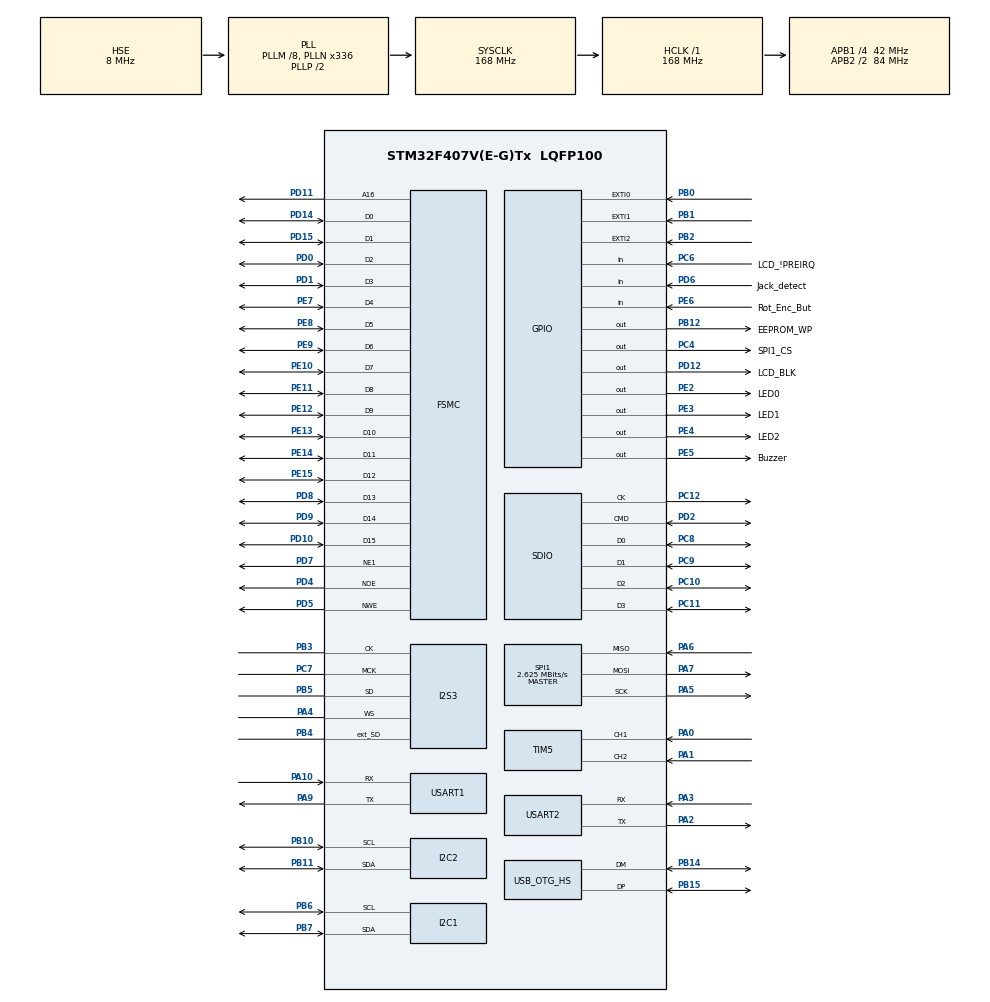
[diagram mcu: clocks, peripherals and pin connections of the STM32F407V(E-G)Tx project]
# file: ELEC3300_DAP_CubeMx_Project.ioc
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Dma.Request0=SPI3_TX
Dma.Request1=SDIO_RX
Dma.Request2=SDIO_TX
Dma.SDIO_RX.1.Direction=DMA_PERIPH_TO_MEMORY
Dma.SDIO_RX.1.FIFOMode=DMA_FIFOMODE_ENABLE
Dma.SDIO_RX.1.FIFOThreshold=DMA_FIFO_THRESHOLD_FULL
Dma.SDIO_RX.1.Instance=DMA2_Stream6
Dma.SDIO_RX.1.MemBurst=DMA_MBURST_INC4
Dma.SDIO_RX.1.MemDataAlignment=DMA_MDATAALIGN_WORD
Dma.SDIO_RX.1.MemInc=DMA_MINC_ENABLE
Dma.SDIO_RX.1.Mode=DMA_PFCTRL
Dma.SDIO_RX.1.PeriphBurst=DMA_PBURST_INC4
Dma.SDIO_RX.1.PeriphDataAlignment=DMA_PDATAALIGN_WORD
Dma.SDIO_RX.1.PeriphInc=DMA_PINC_DISABLE
Dma.SDIO_RX.1.Priority=DMA_PRIORITY_HIGH
Dma.SDIO_TX.2.Direction=DMA_MEMORY_TO_PERIPH
Dma.SDIO_TX.2.FIFOMode=DMA_FIFOMODE_ENABLE
Dma.SDIO_TX.2.FIFOThreshold=DMA_FIFO_THRESHOLD_FULL
Dma.SDIO_TX.2.Instance=DMA2_Stream3
Dma.SDIO_TX.2.MemBurst=DMA_MBURST_INC4
Dma.SDIO_TX.2.MemDataAlignment=DMA_MDATAALIGN_WORD
Dma.SDIO_TX.2.MemInc=DMA_MINC_ENABLE
Dma.SDIO_TX.2.Mode=DMA_PFCTRL
Dma.SDIO_TX.2.PeriphBurst=DMA_PBURST_INC4
Dma.SDIO_TX.2.PeriphDataAlignment=DMA_PDATAALIGN_WORD
Dma.SDIO_TX.2.PeriphInc=DMA_PINC_DISABLE
Dma.SDIO_TX.2.Priority=DMA_PRIORITY_HIGH
Dma.SPI3_TX.0.Direction=DMA_MEMORY_TO_PERIPH
Dma.SPI3_TX.0.FIFOMode=DMA_FIFOMODE_DISABLE
Dma.SPI3_TX.0.Instance=DMA1_Stream5
Dma.SPI3_TX.0.MemDataAlignment=DMA_MDATAALIGN_HALFWORD
Dma.SPI3_TX.0.MemInc=DMA_MINC_ENABLE
Dma.SPI3_TX.0.Mode=DMA_CIRCULAR
Dma.SPI3_TX.0.PeriphDataAlignment=DMA_PDATAALIGN_HALFWORD
Dma.SPI3_TX.0.PeriphInc=DMA_PINC_DISABLE
Dma.SPI3_TX.0.Priority=DMA_PRIORITY_VERY_HIGH
FATFS.USE_DMA_CODE_SD=1
FATFS._CODE_PAGE=850
FATFS._MAX_SS=4096
FATFS._USE_FIND=1
FATFS._USE_LFN=2
I2S3.AudioFreq=I2S_AUDIOFREQ_44K
I2S3.CPOL=I2S_CPOL_LOW
I2S3.ErrorAudioFreq=1.79 %
I2S3.FullDuplexMode=I2S_FULLDUPLEXMODE_ENABLE
I2S3.Instance=SPI$Index
I2S3.RealAudioFreq=44.791 KHz
I2S3.VirtualMode=I2S_MODE_MASTER
Mcu.Family=STM32F4
Mcu.Name=STM32F407V(E-G)Tx
Mcu.Package=LQFP100
NVIC.DMA1_Stream5_IRQn=true\:0\:0\:false\:false\:true\:false\:true
NVIC.DMA2_Stream3_IRQn=true\:0\:0\:false\:false\:true\:false\:true
NVIC.DMA2_Stream6_IRQn=true\:0\:0\:false\:false\:true\:false\:true
NVIC.EXTI0_IRQn=true\:0\:0\:false\:false\:true\:true\:true
NVIC.EXTI1_IRQn=true\:0\:0\:false\:false\:true\:true\:true
NVIC.EXTI2_IRQn=true\:0\:0\:false\:false\:true\:true\:true
NVIC.OTG_HS_IRQn=true\:1\:0\:true\:false\:true\:false\:true
NVIC.PriorityGroup=NVIC_PRIORITYGROUP_4
NVIC.SPI1_IRQn=true\:0\:0\:false\:false\:true\:true\:true
NVIC.TIM6_DAC_IRQn=true\:1\:0\:true\:false\:true\:true\:true
NVIC.USART1_IRQn=true\:1\:0\:true\:false\:true\:true\:true
NVIC.USART2_IRQn=true\:1\:0\:true\:false\:true\:true\:true
PA0-WKUP.Signal=S_TIM5_CH1
PA1.Signal=S_TIM5_CH2
PA10.Mode=Asynchronous
PA10.Signal=USART1_RX
PA13.Mode=Serial_Wire
PA13.Signal=SYS_JTMS-SWDIO
PA14.Mode=Serial_Wire
PA14.Signal=SYS_JTCK-SWCLK
PA2.Mode=Asynchronous
PA2.Signal=USART2_TX
PA3.Mode=Asynchronous
PA3.Signal=USART2_RX
PA4.Mode=Full_Duplex_Master
PA4.Signal=I2S3_WS
PA5.Mode=Full_Duplex_Master
PA5.Signal=SPI1_SCK
PA6.Mode=Full_Duplex_Master
PA6.Signal=SPI1_MISO
PA7.Mode=Full_Duplex_Master
PA7.Signal=SPI1_MOSI
PA9.Mode=Asynchronous
PA9.Signal=USART1_TX
PB0.GPIO_ModeDefaultEXTI=GPIO_MODE_IT_RISING_FALLING
PB0.GPIO_PuPd=GPIO_PULLUP
PB0.Signal=GPXTI0
PB1.GPIO_ModeDefaultEXTI=GPIO_MODE_IT_RISING_FALLING
PB1.GPIO_PuPd=GPIO_PULLUP
PB1.Signal=GPXTI1
PB10.Mode=I2C
PB10.Signal=I2C2_SCL
PB11.Mode=I2C
PB11.Signal=I2C2_SDA
PB12.GPIO_Label=EEPROM_WP
PB12.Signal=GPIO_Output
PB14.Mode=Device_Only_FS
PB14.Signal=USB_OTG_HS_DM
PB15.Mode=Device_Only_FS
PB15.Signal=USB_OTG_HS_DP
PB2.GPIO_ModeDefaultEXTI=GPIO_MODE_IT_RISING_FALLING
PB2.GPIO_PuPd=GPIO_PULLUP
PB2.Signal=GPXTI2
PB3.Mode=Full_Duplex_Master
PB3.Signal=I2S3_CK
PB4.Mode=Full_Duplex_Master
PB4.Signal=I2S3_ext_SD
PB5.Mode=Full_Duplex_Master
PB5.Signal=I2S3_SD
PB6.Mode=I2C
PB6.Signal=I2C1_SCL
PB7.Mode=I2C
PB7.Signal=I2C1_SDA
PC10.Mode=SD_4_bits_Wide_bus
PC10.Signal=SDIO_D2
PC11.Mode=SD_4_bits_Wide_bus
PC11.Signal=SDIO_D3
PC12.Mode=SD_4_bits_Wide_bus
PC12.Signal=SDIO_CK
PC4.GPIO_Label=SPI1_CS
PC4.Signal=GPIO_Output
PC6.GPIO_Label=LCD_\!PREIRQ
PC6.Signal=GPIO_Input
PC7.Mode=Master_Clock_Activated
PC7.Signal=I2S3_MCK
PC8.Mode=SD_4_bits_Wide_bus
PC8.Signal=SDIO_D0
PC9.Mode=SD_4_bits_Wide_bus
PC9.Signal=SDIO_D1
PD0.Mode=16b-d1
PD0.Signal=FSMC_D2
PD1.Mode=16b-d1
PD1.Signal=FSMC_D3
PD10.Mode=16b-d1
PD10.Signal=FSMC_D15
PD11.Mode=A16_1
PD11.Signal=FSMC_A16
PD12.GPIO_Label=LCD_BLK
PD12.Signal=GPIO_Output
PD14.Mode=16b-d1
PD14.Signal=FSMC_D0
PD15.Mode=16b-d1
PD15.Signal=FSMC_D1
PD2.Mode=SD_4_bits_Wide_bus
PD2.Signal=SDIO_CMD
PD4.Mode=Lcd1
PD4.Signal=FSMC_NOE
PD5.Mode=Lcd1
PD5.Signal=FSMC_NWE
PD6.GPIO_Label=Jack_detect
PD6.Signal=GPIO_Input
PD7.Mode=NorPsramChipSelect1_1
PD7.Signal=FSMC_NE1
PD8.Mode=16b-d1
PD8.Signal=FSMC_D13
PD9.Mode=16b-d1
PD9.Signal=FSMC_D14
PE10.Mode=16b-d1
PE10.Signal=FSMC_D7
PE11.Mode=16b-d1
PE11.Signal=FSMC_D8
PE12.Mode=16b-d1
PE12.Signal=FSMC_D9
PE13.Mode=16b-d1
PE13.Signal=FSMC_D10
PE14.Mode=16b-d1
PE14.Signal=FSMC_D11
PE15.Mode=16b-d1
PE15.Signal=FSMC_D12
PE2.GPIO_Label=LED0
PE2.Signal=GPIO_Output
PE3.GPIO_Label=LED1
PE3.Signal=GPIO_Output
PE4.GPIO_Label=LED2
PE4.Signal=GPIO_Output
PE5.GPIO_Label=Buzzer
PE5.Signal=GPIO_Output
PE6.GPIO_Label=Rot_Enc_But
PE6.Signal=GPIO_Input
PE7.Mode=16b-d1
PE7.Signal=FSMC_D4
PE8.Mode=16b-d1
PE8.Signal=FSMC_D5
PE9.Mode=16b-d1
PE9.Signal=FSMC_D6
PH0-OSC_IN.Mode=HSE-External-Oscillator
PH0-OSC_IN.Signal=RCC_OSC_IN
PH1-OSC_OUT.Mode=HSE-External-Oscillator
PH1-OSC_OUT.Signal=RCC_OSC_OUT
ProjectManager.HeapSize=0x7300
ProjectManager.StackSize=0x1700
ProjectManager.TargetToolchain=MDK-ARM V5.32
RCC.48MHZClocksFreq_Value=48000000
RCC.AHBFreq_Value=168000000
RCC.APB1CLKDivider=RCC_HCLK_DIV4
RCC.APB1Freq_Value=42000000
RCC.APB1TimFreq_Value=84000000
RCC.APB2CLKDivider=RCC_HCLK_DIV2
RCC.APB2Freq_Value=84000000
RCC.APB2TimFreq_Value=168000000
RCC.CortexFreq_Value=168000000
RCC.HCLKFreq_Value=168000000
RCC.HSE_VALUE=8000000
RCC.HSI_VALUE=16000000
RCC.LSE_VALUE=32768
RCC.PLLI2SN=344
RCC.PLLM=8
RCC.PLLN=336
RCC.PLLQ=7
RCC.SYSCLKFreq_VALUE=168000000
RCC.SYSCLKSource=RCC_SYSCLKSOURCE_PLLCLK
RCC.VCOOutputFreq_Value=336000000
SDIO.ClockDiv=5
SDIO.HardwareFlowControl=SDIO_HARDWARE_FLOW_CONTROL_ENABLE
SH.S_TIM5_CH1.0=TIM5_CH1,Encoder_Interface
SH.S_TIM5_CH2.0=TIM5_CH2,Encoder_Interface
SPI1.BaudRatePrescaler=SPI_BAUDRATEPRESCALER_32
SPI1.CalculateBaudRate=2.625 MBits/s
SPI1.Direction=SPI_DIRECTION_2LINES
SPI1.Mode=SPI_MODE_MASTER
SPI1.VirtualType=VM_MASTER
TIM6.AutoReloadPreload=TIM_AUTORELOAD_PRELOAD_ENABLE
TIM6.Period=10000-1
TIM6.Prescaler=8400-1
USART1.VirtualMode=VM_ASYNC
USART2.VirtualMode=VM_ASYNC
USB_DEVICE.CLASS_NAME_HS=AUDIO
USB_DEVICE.PID_AUDIO_HS=0x5740
USB_DEVICE.USBD_AUDIO_FREQ-AUDIO_HS=48000
USB_DEVICE.VirtualMode-AUDIO_HS=Audio
USB_DEVICE.VirtualModeHS=Audio_HS
USB_OTG_HS.VirtualMode-Device_Only_FS=Device_Only_FS
VP_FATFS_VS_SDIO.Mode=SDIO
VP_RNG_VS_RNG.Mode=RNG_Activate
VP_TIM6_VS_ClockSourceINT.Mode=Enable_Timer
VP_USB_DEVICE_VS_USB_DEVICE_AUDIO_HS.Mode=AUDIO_HS
board=custom

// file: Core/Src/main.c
/* USER CODE BEGIN Header */
/**
  ******************************************************************************
  * @file           : main.c
  * @brief          : Main program body
  ******************************************************************************
  * @attention
  *
  * <h2><center>&copy; Copyright (c) 2021 STMicroelectronics.
  * All rights reserved.</center></h2>
  *
  * This software component is licensed by ST under Ultimate Liberty license
  * SLA0044, the "License"; You may not use this file except in compliance with
  * the License. You may obtain a copy of the License at:
  *                             www.st.com/SLA0044
  *
  ******************************************************************************
  */
/* USER CODE END Header */
#include "main.h"
#include "fatfs.h"
#include "usb_device.h"

/* USER CODE BEGIN Includes */
#include "file_sys_func.h"
#include "wav_decoder.h"
#include "codec.h"
#include "mp3_decoder.h"
#include "eeprom.h"
#include "lcdtp.h"
#include "menu.h"
#include "volume_bar.h"
#include "uart.h"
#include "usbd_audio_if.h"
#include "player_func.h"
#include "random.h"
/* USER CODE END Includes */

I2C_HandleTypeDef hi2c1;
I2C_HandleTypeDef hi2c2;

I2S_HandleTypeDef hi2s3;
DMA_HandleTypeDef hdma_spi3_tx;

RNG_HandleTypeDef hrng;

SD_HandleTypeDef hsd;
DMA_HandleTypeDef hdma_sdio_rx;
DMA_HandleTypeDef hdma_sdio_tx;

SPI_HandleTypeDef hspi1;

TIM_HandleTypeDef htim5;
TIM_HandleTypeDef htim6;

UART_HandleTypeDef huart1;
UART_HandleTypeDef huart2;

SRAM_HandleTypeDef hsram1;

/* USER CODE BEGIN PV */
volatile uint8_t menu_id = 0;
volatile uint8_t song_id = 0;

// song menu variables
uint8_t numSongs = 0;
char **fileNames; // dynamic 2D char array
uint8_t *fileTypes; // dynamic 1D uint8_t array. 1 = MP3, 2 = WAV, 3 = FLAC

uint8_t volume = 0;

uint8_t bands[5] = {12, 12, 12, 12, 12}; // default
/* USER CODE END PV */

void SystemClock_Config(void);
static void MX_GPIO_Init(void);
static void MX_FSMC_Init(void);
static void MX_I2C1_Init(void);
static void MX_I2C2_Init(void);
static void MX_I2S3_Init(void);
static void MX_SDIO_SD_Init(void);
static void MX_SPI1_Init(void);
static void MX_TIM5_Init(void);
static void MX_USART1_UART_Init(void);
static void MX_USART2_UART_Init(void);
static void MX_DMA_Init(void);
static void MX_TIM6_Init(void);
static void MX_RNG_Init(void);
/* USER CODE BEGIN PFP */
uint8_t play_wav = 0;
/* USER CODE END PFP */

int main(void)
{

  /* MCU Configuration--------------------------------------------------------*/

  /* Reset of all peripherals, Initializes the Flash interface and the Systick. */
  HAL_Init();

  /* Configure the system clock */
  SystemClock_Config();

  /* Initialize all configured peripherals */
  MX_GPIO_Init();
  MX_FSMC_Init();
  MX_I2C1_Init();
  MX_I2C2_Init();
  MX_I2S3_Init();
  MX_SDIO_SD_Init();
  MX_SPI1_Init();
  MX_TIM5_Init();
  MX_USART1_UART_Init();
  MX_USART2_UART_Init();
  MX_FATFS_Init();
  MX_DMA_Init();
  MX_TIM6_Init();
  MX_RNG_Init();
  MX_USB_DEVICE_Init();
  /* USER CODE BEGIN 2 */
	LCD_INIT();

	codec_init(&hi2c1, &hi2s3, &hdma_spi3_tx);
	eeprom_init(&hi2c2);
	codec_load_setting();
  codec_eq_enable(1);
  get_eeprom_eq(bands);

	HAL_GPIO_WritePin(LED0_GPIO_Port,LED0_Pin, 1);
	HAL_GPIO_WritePin(LED1_GPIO_Port,LED1_Pin, 1);
	HAL_GPIO_WritePin(LED2_GPIO_Port,LED2_Pin, 1);

	FATFS myFATFS;
	FRESULT res;
	res = f_mount(&myFATFS,SDPath,1);

/*
	char string[15];
	uint8_t ee_buf = 0x9c;
	HAL_I2C_Mem_Write(&hi2c2,EEPROM_DEVICE_ADDRESS,0,1,&ee_buf,1,50);
	ee_buf = 0x0;
	HAL_Delay(10);
	HAL_I2C_Mem_Read(&hi2c2,EEPROM_DEVICE_ADDRESS,0,1,&ee_buf,1,50);

	sprintf(string, "data: %x",ee_buf);
	LCD_DrawString(0,300,string);
*/
  fileNames = malloc(NUM_OF_SCAN_FILE_MAX * sizeof(char *)); // malloc row ptr
  fileTypes = malloc(NUM_OF_SCAN_FILE_MAX * sizeof(uint8_t)); // malloc row ptr

  // comment / uncomment below to test Stardust menu
  // MENU_Welcome();
	//LCD_Clear(0, 0, 240, 320, DARK);

	HAL_GPIO_WritePin(SPI1_CS_GPIO_Port,SPI1_CS_Pin,0);

	//sd_write_txt("testing.txt", string, strlen(string));
  //sd_write_txt("testing.txt", "2nd line", strlen("2nd line"));

	/*
	while(1){

		uint8_t spi_tx_data = 0xD0;
		uint8_t dummy_tx[2] = {0};
		uint8_t spi_rx_data[2] = {0};
		//HAL_GPIO_WritePin(SPI1_CS_GPIO_Port,SPI1_CS_Pin,0);
		HAL_SPI_Transmit(&hspi1, &spi_tx_data, 1, 50);
		//HAL_SPI_Receive(&hspi1, spi_rx_data, 1, 50);
		//HAL_SPI_Receive(&hspi1, spi_rx_data + 1, 1, 50);
		HAL_SPI_TransmitReceive(&hspi1, dummy_tx, spi_rx_data,2,50);
		//HAL_SPI_Receive(&hspi1,spi_rx_data + 1,1,50);
		//HAL_GPIO_WritePin(SPI1_CS_GPIO_Port,SPI1_CS_Pin,1);

		uint8_t spi_tx_data1 = 0x90;
		uint8_t spi_rx_data1[2] = {0};
		//HAL_GPIO_WritePin(SPI1_CS_GPIO_Port,SPI1_CS_Pin,0);
		HAL_SPI_Transmit(&hspi1, &spi_tx_data1, 1, 50);
		HAL_SPI_TransmitReceive(&hspi1, dummy_tx, spi_rx_data1,2,50);
		//HAL_GPIO_WritePin(SPI1_CS_GPIO_Port,SPI1_CS_Pin,1);
		//HAL_SPI_Receive(&hspi1, spi_rx_data1 + 1, 1, 50);
		//HAL_SPI_TransmitReceive(&hspi1, dummy_tx, spi_rx_data1,2,50);
		//HAL_SPI_Receive(&hspi1,spi_rx_data1 + 1,1,50);

		char string[15];
		sprintf(string, "rx:%x %x  ", spi_rx_data[0],spi_rx_data[1]);
		LCD_DrawString(0,0,string);

		sprintf(string, "rx1:%x %x  ", spi_rx_data1[0],spi_rx_data1[1]);
		LCD_DrawString(0,20,string);
		HAL_Delay(300);
	}
	*/

	//write_song_to_play_list(0xa, 2);
	//eeprom_earse_all();

	HAL_UART_Receive_IT(&huart1, &uart1_rx_byte, 1);

	//write_song_to_play_list(4,1);
	/*
	uint8_t* play_list;
	uint8_t num = 0;
	play_list = read_playlist(2, &num);

	uint8_t string[15] = {0};
	for(int i = 0; i < num; i++){
		sprintf(string, "data: %d ", *(play_list + i));
		LCD_DrawString(0,i*20,string);
	}
	*/
	//codec_volume_update(&hi2c1,0xC0);
	if (res == FR_OK)
	{
		scan_file("0:/MUSIC", &numSongs, fileNames, fileTypes);

		//wav_read_header("Sample-wav-file.wav");
		//wav_play_music(&hi2s3, &hi2c1,"Sample-wav-file.wav");

		//mp3_read_header("Kalimba.mp3");
		//mp3_play_music(&hi2s3, &hi2c1,"Kalimba.mp3");

	}
	else{
		LCD_DrawString(0,0,"Cannot mount FATFS");
	}

	// player_display_cover("Sample-wav-file.bin");
  // HAL_Delay(200);

	play_wav = 0;

  /* USER CODE END 2 */

  /* Infinite loop */
  /* USER CODE BEGIN WHILE */
  while (1)
  {
    switch(menu_id) {
      case 0:
      MENU_Main();
      break;

      case 1:
      MENU_SelectSong(numSongs, fileNames, fileTypes);
      break;

      case 2:
      MENU_Equalizer();
      break;

      case 3:
      MENU_CreatePlaylist(numSongs, fileNames, fileTypes);
      break;

      case 4:
      MENU_PlayPlaylist(playlistSize, read_playlist(1, &playlistSize), fileNames);
      break;

      case 5:
      MENU_PlaySong(song_id, fileNames, fileTypes);
      break;
    }
    /* USER CODE END WHILE */

    /* USER CODE BEGIN 3 */
		// uint32_t this_tick = HAL_GetTick();
		// static uint32_t last_led_tick = 0;
		// if(this_tick - last_led_tick >= 300){
		// 	HAL_GPIO_TogglePin(LED0_GPIO_Port,LED0_Pin);
		// 	last_led_tick = this_tick;
		// }
  }
  /* USER CODE END 3 */
}

void SystemClock_Config(void)
{
  RCC_OscInitTypeDef RCC_OscInitStruct = {0};
  RCC_ClkInitTypeDef RCC_ClkInitStruct = {0};

  /** Configure the main internal regulator output voltage
  */
  __HAL_RCC_PWR_CLK_ENABLE();
  __HAL_PWR_VOLTAGESCALING_CONFIG(PWR_REGULATOR_VOLTAGE_SCALE1);
  /** Initializes the RCC Oscillators according to the specified parameters
  * in the RCC_OscInitTypeDef structure.
  */
  RCC_OscInitStruct.OscillatorType = RCC_OSCILLATORTYPE_HSE;
  RCC_OscInitStruct.HSEState = RCC_HSE_ON;
  RCC_OscInitStruct.PLL.PLLState = RCC_PLL_ON;
  RCC_OscInitStruct.PLL.PLLSource = RCC_PLLSOURCE_HSE;
  RCC_OscInitStruct.PLL.PLLM = 8;
  RCC_OscInitStruct.PLL.PLLN = 336;
  RCC_OscInitStruct.PLL.PLLP = RCC_PLLP_DIV2;
  RCC_OscInitStruct.PLL.PLLQ = 7;
  if (HAL_RCC_OscConfig(&RCC_OscInitStruct) != HAL_OK)
  {
    Error_Handler();
  }
  /** Initializes the CPU, AHB and APB buses clocks
  */
  RCC_ClkInitStruct.ClockType = RCC_CLOCKTYPE_HCLK|RCC_CLOCKTYPE_SYSCLK
                              |RCC_CLOCKTYPE_PCLK1|RCC_CLOCKTYPE_PCLK2;
  RCC_ClkInitStruct.SYSCLKSource = RCC_SYSCLKSOURCE_PLLCLK;
  RCC_ClkInitStruct.AHBCLKDivider = RCC_SYSCLK_DIV1;
  RCC_ClkInitStruct.APB1CLKDivider = RCC_HCLK_DIV4;
  RCC_ClkInitStruct.APB2CLKDivider = RCC_HCLK_DIV2;

  if (HAL_RCC_ClockConfig(&RCC_ClkInitStruct, FLASH_LATENCY_5) != HAL_OK)
  {
    Error_Handler();
  }
}

static void MX_I2C1_Init(void)
{

  hi2c1.Instance = I2C1;
  hi2c1.Init.ClockSpeed = 100000;
  hi2c1.Init.DutyCycle = I2C_DUTYCYCLE_2;
  hi2c1.Init.OwnAddress1 = 0;
  hi2c1.Init.AddressingMode = I2C_ADDRESSINGMODE_7BIT;
  hi2c1.Init.DualAddressMode = I2C_DUALADDRESS_DISABLE;
  hi2c1.Init.OwnAddress2 = 0;
  hi2c1.Init.GeneralCallMode = I2C_GENERALCALL_DISABLE;
  hi2c1.Init.NoStretchMode = I2C_NOSTRETCH_DISABLE;
  if (HAL_I2C_Init(&hi2c1) != HAL_OK)
  {
    Error_Handler();
  }

}

static void MX_I2C2_Init(void)
{

  hi2c2.Instance = I2C2;
  hi2c2.Init.ClockSpeed = 100000;
  hi2c2.Init.DutyCycle = I2C_DUTYCYCLE_2;
  hi2c2.Init.OwnAddress1 = 0;
  hi2c2.Init.AddressingMode = I2C_ADDRESSINGMODE_7BIT;
  hi2c2.Init.DualAddressMode = I2C_DUALADDRESS_DISABLE;
  hi2c2.Init.OwnAddress2 = 0;
  hi2c2.Init.GeneralCallMode = I2C_GENERALCALL_DISABLE;
  hi2c2.Init.NoStretchMode = I2C_NOSTRETCH_DISABLE;
  if (HAL_I2C_Init(&hi2c2) != HAL_OK)
  {
    Error_Handler();
  }

}

static void MX_I2S3_Init(void)
{

  hi2s3.Instance = SPI3;
  hi2s3.Init.Mode = I2S_MODE_MASTER_TX;
  hi2s3.Init.Standard = I2S_STANDARD_PHILIPS;
  hi2s3.Init.DataFormat = I2S_DATAFORMAT_16B;
  hi2s3.Init.MCLKOutput = I2S_MCLKOUTPUT_ENABLE;
  hi2s3.Init.AudioFreq = I2S_AUDIOFREQ_44K;
  hi2s3.Init.CPOL = I2S_CPOL_LOW;
  hi2s3.Init.ClockSource = I2S_CLOCK_PLL;
  hi2s3.Init.FullDuplexMode = I2S_FULLDUPLEXMODE_ENABLE;
  if (HAL_I2S_Init(&hi2s3) != HAL_OK)
  {
    Error_Handler();
  }

}

static void MX_RNG_Init(void)
{

  hrng.Instance = RNG;
  if (HAL_RNG_Init(&hrng) != HAL_OK)
  {
    Error_Handler();
  }

}

static void MX_SDIO_SD_Init(void)
{

  hsd.Instance = SDIO;
  hsd.Init.ClockEdge = SDIO_CLOCK_EDGE_RISING;
  hsd.Init.ClockBypass = SDIO_CLOCK_BYPASS_DISABLE;
  hsd.Init.ClockPowerSave = SDIO_CLOCK_POWER_SAVE_DISABLE;
  hsd.Init.BusWide = SDIO_BUS_WIDE_1B;
  hsd.Init.HardwareFlowControl = SDIO_HARDWARE_FLOW_CONTROL_ENABLE;
  hsd.Init.ClockDiv = 5;

}

static void MX_SPI1_Init(void)
{

  /* SPI1 parameter configuration*/
  hspi1.Instance = SPI1;
  hspi1.Init.Mode = SPI_MODE_MASTER;
  hspi1.Init.Direction = SPI_DIRECTION_2LINES;
  hspi1.Init.DataSize = SPI_DATASIZE_8BIT;
  hspi1.Init.CLKPolarity = SPI_POLARITY_LOW;
  hspi1.Init.CLKPhase = SPI_PHASE_1EDGE;
  hspi1.Init.NSS = SPI_NSS_SOFT;
  hspi1.Init.BaudRatePrescaler = SPI_BAUDRATEPRESCALER_32;
  hspi1.Init.FirstBit = SPI_FIRSTBIT_MSB;
  hspi1.Init.TIMode = SPI_TIMODE_DISABLE;
  hspi1.Init.CRCCalculation = SPI_CRCCALCULATION_DISABLE;
  hspi1.Init.CRCPolynomial = 10;
  if (HAL_SPI_Init(&hspi1) != HAL_OK)
  {
    Error_Handler();
  }

}

static void MX_TIM5_Init(void)
{

  TIM_Encoder_InitTypeDef sConfig = {0};
  TIM_MasterConfigTypeDef sMasterConfig = {0};

  htim5.Instance = TIM5;
  htim5.Init.Prescaler = 0;
  htim5.Init.CounterMode = TIM_COUNTERMODE_UP;
  htim5.Init.Period = 4294967295;
  htim5.Init.ClockDivision = TIM_CLOCKDIVISION_DIV1;
  htim5.Init.AutoReloadPreload = TIM_AUTORELOAD_PRELOAD_DISABLE;
  sConfig.EncoderMode = TIM_ENCODERMODE_TI1;
  sConfig.IC1Polarity = TIM_ICPOLARITY_RISING;
  sConfig.IC1Selection = TIM_ICSELECTION_DIRECTTI;
  sConfig.IC1Prescaler = TIM_ICPSC_DIV1;
  sConfig.IC1Filter = 0;
  sConfig.IC2Polarity = TIM_ICPOLARITY_RISING;
  sConfig.IC2Selection = TIM_ICSELECTION_DIRECTTI;
  sConfig.IC2Prescaler = TIM_ICPSC_DIV1;
  sConfig.IC2Filter = 0;
  if (HAL_TIM_Encoder_Init(&htim5, &sConfig) != HAL_OK)
  {
    Error_Handler();
  }
  sMasterConfig.MasterOutputTrigger = TIM_TRGO_RESET;
  sMasterConfig.MasterSlaveMode = TIM_MASTERSLAVEMODE_DISABLE;
  if (HAL_TIMEx_MasterConfigSynchronization(&htim5, &sMasterConfig) != HAL_OK)
  {
    Error_Handler();
  }

}

static void MX_TIM6_Init(void)
{

  TIM_MasterConfigTypeDef sMasterConfig = {0};

  htim6.Instance = TIM6;
  htim6.Init.Prescaler = 8400-1;
  htim6.Init.CounterMode = TIM_COUNTERMODE_UP;
  htim6.Init.Period = 10000-1;
  htim6.Init.AutoReloadPreload = TIM_AUTORELOAD_PRELOAD_ENABLE;
  if (HAL_TIM_Base_Init(&htim6) != HAL_OK)
  {
    Error_Handler();
  }
  sMasterConfig.MasterOutputTrigger = TIM_TRGO_RESET;
  sMasterConfig.MasterSlaveMode = TIM_MASTERSLAVEMODE_DISABLE;
  if (HAL_TIMEx_MasterConfigSynchronization(&htim6, &sMasterConfig) != HAL_OK)
  {
    Error_Handler();
  }

}

static void MX_USART1_UART_Init(void)
{

  huart1.Instance = USART1;
  huart1.Init.BaudRate = 9600;
  huart1.Init.WordLength = UART_WORDLENGTH_8B;
  huart1.Init.StopBits = UART_STOPBITS_1;
  huart1.Init.Parity = UART_PARITY_NONE;
  huart1.Init.Mode = UART_MODE_TX_RX;
  huart1.Init.HwFlowCtl = UART_HWCONTROL_NONE;
  huart1.Init.OverSampling = UART_OVERSAMPLING_16;
  if (HAL_UART_Init(&huart1) != HAL_OK)
  {
    Error_Handler();
  }

}

static void MX_USART2_UART_Init(void)
{

  huart2.Instance = USART2;
  huart2.Init.BaudRate = 115200;
  huart2.Init.WordLength = UART_WORDLENGTH_8B;
  huart2.Init.StopBits = UART_STOPBITS_1;
  huart2.Init.Parity = UART_PARITY_NONE;
  huart2.Init.Mode = UART_MODE_TX_RX;
  huart2.Init.HwFlowCtl = UART_HWCONTROL_NONE;
  huart2.Init.OverSampling = UART_OVERSAMPLING_16;
  if (HAL_UART_Init(&huart2) != HAL_OK)
  {
    Error_Handler();
  }

}

static void MX_DMA_Init(void)
{

  /* DMA controller clock enable */
  __HAL_RCC_DMA1_CLK_ENABLE();
  __HAL_RCC_DMA2_CLK_ENABLE();

  /* DMA interrupt init */
  /* DMA1_Stream5_IRQn interrupt configuration */
  HAL_NVIC_SetPriority(DMA1_Stream5_IRQn, 0, 0);
  HAL_NVIC_EnableIRQ(DMA1_Stream5_IRQn);
  /* DMA2_Stream3_IRQn interrupt configuration */
  HAL_NVIC_SetPriority(DMA2_Stream3_IRQn, 0, 0);
  HAL_NVIC_EnableIRQ(DMA2_Stream3_IRQn);
  /* DMA2_Stream6_IRQn interrupt configuration */
  HAL_NVIC_SetPriority(DMA2_Stream6_IRQn, 0, 0);
  HAL_NVIC_EnableIRQ(DMA2_Stream6_IRQn);

}

static void MX_GPIO_Init(void)
{
  GPIO_InitTypeDef GPIO_InitStruct = {0};

  /* GPIO Ports Clock Enable */
  __HAL_RCC_GPIOE_CLK_ENABLE();
  __HAL_RCC_GPIOH_CLK_ENABLE();
  __HAL_RCC_GPIOA_CLK_ENABLE();
  __HAL_RCC_GPIOC_CLK_ENABLE();
  __HAL_RCC_GPIOB_CLK_ENABLE();
  __HAL_RCC_GPIOD_CLK_ENABLE();

  /*Configure GPIO pin Output Level */
  HAL_GPIO_WritePin(GPIOE, LED0_Pin|LED1_Pin|LED2_Pin|Buzzer_Pin, GPIO_PIN_RESET);

  /*Configure GPIO pin Output Level */
  HAL_GPIO_WritePin(SPI1_CS_GPIO_Port, SPI1_CS_Pin, GPIO_PIN_RESET);

  /*Configure GPIO pin Output Level */
  HAL_GPIO_WritePin(EEPROM_WP_GPIO_Port, EEPROM_WP_Pin, GPIO_PIN_RESET);

  /*Configure GPIO pin Output Level */
  HAL_GPIO_WritePin(LCD_BLK_GPIO_Port, LCD_BLK_Pin, GPIO_PIN_RESET);

  /*Configure GPIO pins : LED0_Pin LED1_Pin LED2_Pin Buzzer_Pin */
  GPIO_InitStruct.Pin = LED0_Pin|LED1_Pin|LED2_Pin|Buzzer_Pin;
  GPIO_InitStruct.Mode = GPIO_MODE_OUTPUT_PP;
  GPIO_InitStruct.Pull = GPIO_NOPULL;
  GPIO_InitStruct.Speed = GPIO_SPEED_FREQ_LOW;
  HAL_GPIO_Init(GPIOE, &GPIO_InitStruct);

  /*Configure GPIO pin : Rot_Enc_But_Pin */
  GPIO_InitStruct.Pin = Rot_Enc_But_Pin;
  GPIO_InitStruct.Mode = GPIO_MODE_INPUT;
  GPIO_InitStruct.Pull = GPIO_NOPULL;
  HAL_GPIO_Init(Rot_Enc_But_GPIO_Port, &GPIO_InitStruct);

  /*Configure GPIO pin : SPI1_CS_Pin */
  GPIO_InitStruct.Pin = SPI1_CS_Pin;
  GPIO_InitStruct.Mode = GPIO_MODE_OUTPUT_PP;
  GPIO_InitStruct.Pull = GPIO_NOPULL;
  GPIO_InitStruct.Speed = GPIO_SPEED_FREQ_LOW;
  HAL_GPIO_Init(SPI1_CS_GPIO_Port, &GPIO_InitStruct);

  /*Configure GPIO pins : PB0 PB1 PB2 */
  GPIO_InitStruct.Pin = GPIO_PIN_0|GPIO_PIN_1|GPIO_PIN_2;
  GPIO_InitStruct.Mode = GPIO_MODE_IT_RISING_FALLING;
  GPIO_InitStruct.Pull = GPIO_PULLUP;
  HAL_GPIO_Init(GPIOB, &GPIO_InitStruct);

  /*Configure GPIO pin : EEPROM_WP_Pin */
  GPIO_InitStruct.Pin = EEPROM_WP_Pin;
  GPIO_InitStruct.Mode = GPIO_MODE_OUTPUT_PP;
  GPIO_InitStruct.Pull = GPIO_NOPULL;
  GPIO_InitStruct.Speed = GPIO_SPEED_FREQ_LOW;
  HAL_GPIO_Init(EEPROM_WP_GPIO_Port, &GPIO_InitStruct);

  /*Configure GPIO pin : LCD_BLK_Pin */
  GPIO_InitStruct.Pin = LCD_BLK_Pin;
  GPIO_InitStruct.Mode = GPIO_MODE_OUTPUT_PP;
  GPIO_InitStruct.Pull = GPIO_NOPULL;
  GPIO_InitStruct.Speed = GPIO_SPEED_FREQ_LOW;
  HAL_GPIO_Init(LCD_BLK_GPIO_Port, &GPIO_InitStruct);

  /*Configure GPIO pin : LCD__PREIRQ_Pin */
  GPIO_InitStruct.Pin = LCD__PREIRQ_Pin;
  GPIO_InitStruct.Mode = GPIO_MODE_INPUT;
  GPIO_InitStruct.Pull = GPIO_NOPULL;
  HAL_GPIO_Init(LCD__PREIRQ_GPIO_Port, &GPIO_InitStruct);

  /*Configure GPIO pin : Jack_detect_Pin */
  GPIO_InitStruct.Pin = Jack_detect_Pin;
  GPIO_InitStruct.Mode = GPIO_MODE_INPUT;
  GPIO_InitStruct.Pull = GPIO_NOPULL;
  HAL_GPIO_Init(Jack_detect_GPIO_Port, &GPIO_InitStruct);

  /* EXTI interrupt init*/
  HAL_NVIC_SetPriority(EXTI0_IRQn, 0, 0);
  HAL_NVIC_EnableIRQ(EXTI0_IRQn);

  HAL_NVIC_SetPriority(EXTI1_IRQn, 0, 0);
  HAL_NVIC_EnableIRQ(EXTI1_IRQn);

  HAL_NVIC_SetPriority(EXTI2_IRQn, 0, 0);
  HAL_NVIC_EnableIRQ(EXTI2_IRQn);

}

/* FSMC initialization function */
static void MX_FSMC_Init(void)
{

  FSMC_NORSRAM_TimingTypeDef Timing = {0};

  /** Perform the SRAM1 memory initialization sequence
  */
  hsram1.Instance = FSMC_NORSRAM_DEVICE;
  hsram1.Extended = FSMC_NORSRAM_EXTENDED_DEVICE;
  /* hsram1.Init */
  hsram1.Init.NSBank = FSMC_NORSRAM_BANK1;
  hsram1.Init.DataAddressMux = FSMC_DATA_ADDRESS_MUX_DISABLE;
  hsram1.Init.MemoryType = FSMC_MEMORY_TYPE_SRAM;
  hsram1.Init.MemoryDataWidth = FSMC_NORSRAM_MEM_BUS_WIDTH_16;
  hsram1.Init.BurstAccessMode = FSMC_BURST_ACCESS_MODE_DISABLE;
  hsram1.Init.WaitSignalPolarity = FSMC_WAIT_SIGNAL_POLARITY_LOW;
  hsram1.Init.WrapMode = FSMC_WRAP_MODE_DISABLE;
  hsram1.Init.WaitSignalActive = FSMC_WAIT_TIMING_BEFORE_WS;
  hsram1.Init.WriteOperation = FSMC_WRITE_OPERATION_ENABLE;
  hsram1.Init.WaitSignal = FSMC_WAIT_SIGNAL_DISABLE;
  hsram1.Init.ExtendedMode = FSMC_EXTENDED_MODE_DISABLE;
  hsram1.Init.AsynchronousWait = FSMC_ASYNCHRONOUS_WAIT_DISABLE;
  hsram1.Init.WriteBurst = FSMC_WRITE_BURST_DISABLE;
  hsram1.Init.PageSize = FSMC_PAGE_SIZE_NONE;
  /* Timing */
  Timing.AddressSetupTime = 15;
  Timing.AddressHoldTime = 15;
  Timing.DataSetupTime = 255;
  Timing.BusTurnAroundDuration = 15;
  Timing.CLKDivision = 16;
  Timing.DataLatency = 17;
  Timing.AccessMode = FSMC_ACCESS_MODE_A;
  /* ExtTiming */

  if (HAL_SRAM_Init(&hsram1, &Timing, NULL) != HAL_OK)
  {
    Error_Handler( );
  }

}

/* USER CODE BEGIN 4 */
void HAL_TIM_PeriodElapsedCallback(TIM_HandleTypeDef *htim)
{
  if (htim == &htim6) {
    if (inPlayMenu == 1) {
      ++playtimeElapsed;
      MENU_UpdatePlayTime();
    }
  }
}
/* USER CODE END 4 */

void Error_Handler(void)
{
  __disable_irq();
  while (1)
  {
  }
}

/************************ (C) COPYRIGHT STMicroelectronics *****END OF FILE****/
